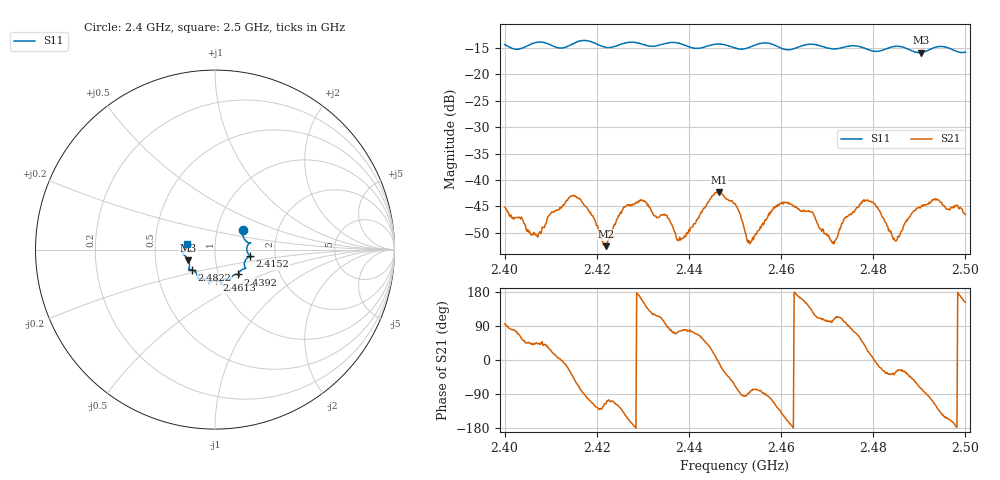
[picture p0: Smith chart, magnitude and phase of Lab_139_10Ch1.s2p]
# Hz S RI R 50
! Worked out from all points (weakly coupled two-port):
!   601 points, 2.4 GHz to 2.5 GHz, reference 50 ohm
!   highest |S21| = -42.25 dB at 2.4465 GHz (marker M1); lowest = -52.5 dB at 2.422 GHz (marker M2)
!   lowest |S11| = -15.9 dB at 2.4903 GHz (marker M3), VSWR 1.38, Z = 36.8 - j4.42 ohm
!   |S11| at or under -10 dB: start of sweep to end of sweep
!   S12 and S22 are empty: the file has one direction only
!   S11 on the Smith chart (normalised r, x): 2.4 GHz: 1.33, +0.31; 2.4152 GHz: 1.48, -0.11; 2.4392 GHz: 1.23, -0.35; 2.4613 GHz: 0.96, -0.34; 2.4822 GHz: 0.76, -0.17; 2.5 GHz: 0.72, +0.05
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2.4e9  0.1562 0.1109  -0.00048 0.00552  0 0  0 0
2.407e9  0.1976 0.038  0.00215 0.0021  0 0  0 0
2.415167e9  0.1946 -0.0361  0.00427 -0.00557  0 0  0 0
2.416667e9  0.2042 -0.0419  0.00106 -0.00623  0 0  0 0
2.422e9  0.1696 -0.0588  -0.00101 -0.00213  0 0  0 0
2.426333e9  0.1703 -0.1025  -0.0048 -0.00299  0 0  0 0
2.43e9  0.1592 -0.108  -0.00584 0.00269  0 0  0 0
2.433333e9  0.1334 -0.1324  -0.0019 0.00399  0 0  0 0
2.439167e9  0.1269 -0.1386  0.000515 0.00286  0 0  0 0
2.4465e9  0.0855 -0.1739  0.00767 -0.000836  0 0  0 0
2.45e9  0.0686 -0.1639  0.00222 -0.00557  0 0  0 0
2.453167e9  0.0374 -0.1765  0.000164 -0.00249  0 0  0 0
2.461333e9  0.00762 -0.1706  -0.00569 -0.00211  0 0  0 0
2.466667e9  -0.0331 -0.1901  -0.0032 0.0038  0 0  0 0
2.471333e9  -0.0576 -0.164  -0.000679 0.00251  0 0  0 0
2.478167e9  -0.0973 -0.1473  0.00494 0.0039  0 0  0 0
2.482167e9  -0.1281 -0.1121  0.00386 -0.00212  0 0  0 0
2.483333e9  -0.1393 -0.1106  0.00261 -0.00202  0 0  0 0
2.485167e9  -0.1477 -0.1107  0.00236 -0.00135  0 0  0 0
2.490333e9  -0.1493 -0.0586  0.0014 -0.00533  0 0  0 0
2.493667e9  -0.1796 -0.0248  -0.00348 -0.00566  0 0  0 0
2.5e9  -0.1587 0.0336  -0.00418 0.00222  0 0  0 0
